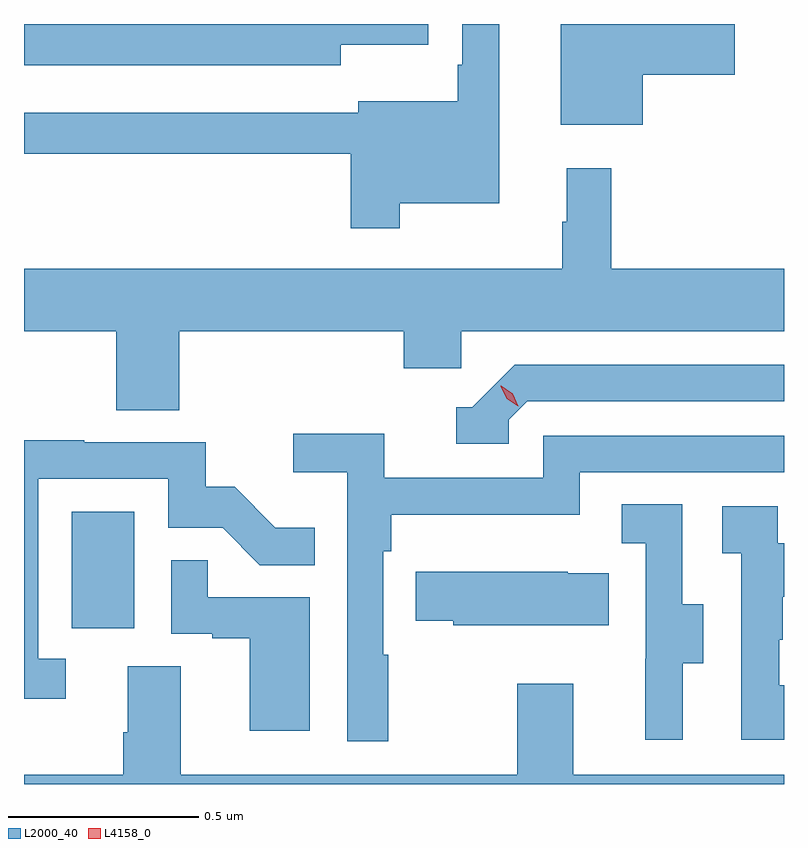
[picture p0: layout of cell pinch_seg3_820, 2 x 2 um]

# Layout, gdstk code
import gdstk
lib = gdstk.Library(unit=1e-6, precision=1e-09)
def R(c, l, rs):  # rectangles x0, y0, x1, y1
    for r in rs: c.add(gdstk.rectangle(r[:2], r[2:], *l))
def P(c, l, *ps):  # polygons
    for p in ps: c.add(gdstk.Polygon(p, *l))
L2000_40 = (2000, 40)
L4158_0 = (4158, 0)

pinch_seg3_820 = lib.new_cell('pinch_seg3_820')
R(pinch_seg3_820, L2000_40, [(881.27,710.79,881.434,711.097)])
P(pinch_seg3_820, L2000_40, [(881.977,712.325),(882.208,712.325),(882.208,712.38),(881.144,712.38),(881.144,712.272),(881.977,712.272)],
  [(882.133,711.908),(882.394,711.908),(882.394,712.38),(882.297,712.38),(882.297,712.273),(882.285,712.273),(882.285,712.177),(882.023,712.177),(882.023,712.146),(881.144,712.146),(881.144,712.038),(882.004,712.038),(882.004,711.843),(882.133,711.843)],
  [(882.772,712.247),(883.015,712.247),(883.015,712.38),(882.557,712.38),(882.557,712.115),(882.772,712.115)],
  [(881.552,711.572),(882.143,711.572),(882.143,711.474),(882.294,711.474),(882.294,711.572),(883.144,711.572),(883.144,711.736),(882.689,711.736),(882.689,712),(882.572,712),(882.572,711.86),(882.561,711.86),(882.561,711.736),(881.144,711.736),(881.144,711.572),(881.387,711.572),(881.387,711.364),(881.552,711.364)],
  [(882.42,711.339),(882.468,711.387),(883.144,711.387),(883.144,711.483),(882.435,711.483),(882.324,711.372),(882.281,711.372),(882.281,711.276),(882.42,711.276)],
  [(882.103,710.72),(882.09,710.72),(882.09,710.993),(882.11,710.993),(882.11,711.089),(882.606,711.089),(882.606,711.201),(883.144,711.201),(883.144,711.297),(882.51,711.297),(882.51,711.186),(882.092,711.186),(882.092,711.302),(881.853,711.302),(881.853,711.2),(881.994,711.2),(881.994,710.493),(882.103,710.493)],
  [(881.254,710.709),(881.181,710.709),(881.181,711.183),(881.523,711.183),(881.523,711.054),(881.667,711.054),(881.765,710.956),(881.909,710.956),(881.909,711.055),(881.805,711.055),(881.698,711.162),(881.622,711.162),(881.622,711.279),(881.303,711.279),(881.303,711.284),(881.144,711.284),(881.144,710.604),(881.254,710.604)],
  [(882.877,710.698),(882.931,710.698),(882.931,710.853),(882.876,710.853),(882.876,711.116),(882.717,711.116),(882.717,711.013),(882.78,711.013),(882.78,710.709),(882.779,710.709),(882.779,710.496),(882.877,710.496)],
  [(883.144,710.64),(883.131,710.64),(883.131,710.759),(883.141,710.759),(883.141,710.873),(883.144,710.873),(883.144,711.013),(883.128,711.013),(883.128,711.111),(882.981,711.111),(882.981,710.987),(883.032,710.987),(883.032,710.496),(883.144,710.496)],
  [(881.896,710.871),(881.627,710.871),(881.627,710.969),(881.532,710.969),(881.532,710.775),(881.639,710.775),(881.639,710.763),(881.738,710.763),(881.738,710.52),(881.896,710.52)],
  [(882.683,710.935),(882.575,710.935),(882.575,710.938),(882.175,710.938),(882.175,710.809),(882.273,710.809),(882.273,710.798),(882.683,710.798)],
  [(883.144,710.404),(882.589,710.404),(882.589,710.644),(882.442,710.644),(882.442,710.404),(881.557,710.404),(881.557,710.69),(881.417,710.69),(881.417,710.516),(881.405,710.516),(881.405,710.404),(881.144,710.404),(881.144,710.38),(883.144,710.38)])
P(pinch_seg3_820, L4158_0, [(882.445,711.374),(882.415,711.394),(882.399,711.427),(882.399,711.428),(882.4,711.428),(882.43,711.407),(882.445,711.374),(882.445,711.374)])

lib.write_gds('pinch_seg3_820.gds')
